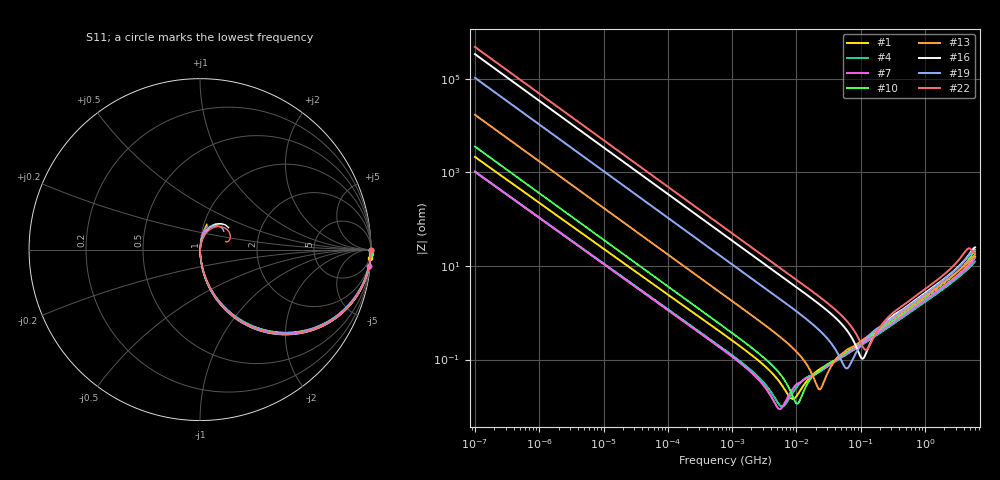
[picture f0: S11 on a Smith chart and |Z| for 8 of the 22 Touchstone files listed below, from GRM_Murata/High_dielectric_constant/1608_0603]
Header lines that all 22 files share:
!These Parameters are Measured in Series Mode Connection
!Data Generated on Mar 30, 2021
!  o--ll--o
!Port1  Port2
!  o------o
!Operation Temp=25[degC], DC Bias Voltage=0[V]
!Freq. Start=100[Hz] Stop=6[GHz] 401[Steps]
# Hz S RI R 50
!Freq.(Hz) S11(Real) S11(Imag) S21(Real) S21(Imag) S12(Real) S12(Imag) S22(Real) S22(Imag)
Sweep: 100 Hz to 6 GHz
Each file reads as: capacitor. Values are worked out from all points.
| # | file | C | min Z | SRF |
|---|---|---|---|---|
| 1 | GRM185B30J105KE25.s2p | 738 nF | 14.4 mohm | 8.977 MHz |
| 2 | GRM185C80J475ME11.s2p | 3.45 uF | 7.11 mohm | 3.655 MHz |
| 3 | GRM185R60G106ME15.s2p | 7.96 uF | 4.55 mohm | 2.344 MHz |
| 4 | GRM185R60J225KE26.s2p | 1.53 uF | 9.91 mohm | 6.13 MHz |
| 5 | GRM185R61E105MA12.s2p | 607 nF | 13.5 mohm | 9.98 MHz |
| 6 | GRM187R60J226ME15.s2p | 17 uF | 3.88 mohm | 1.417 MHz |
| 7 | GRM188B3YA225KA12.s2p | 1.53 uF | 8.74 mohm | 5.641 MHz |
| 8 | GRM188B10J105KA01.s2p | 928 nF | 8.66 mohm | 6.96 MHz |
| 9 | GRM188B11A334MA61.s2p | 306 nF | 13.5 mohm | 12.7 MHz |
| 10 | GRM188B11A474KA61.s2p | 445 nF | 11.4 mohm | 10.44 MHz |
| 11 | GRM188B11A684MA61.s2p | 621 nF | 9.84 mohm | 8.763 MHz |
| 12 | GRM188B11E103KA01.s2p | 9.69 nF | 65.7 mohm | 75.25 MHz |
| 13 | GRM188B11E104KA01.s2p | 93 nF | 23.1 mohm | 23.22 MHz |
| 14 | GRM188B11E152KA01.s2p | 1.5 nF | 228 mohm | 191 MHz |
| 15 | GRM188B11E153MA01.s2p | 14.6 nF | 55.4 mohm | 59.24 MHz |
| 16 | GRM188B11E472KA01.s2p | 4.71 nF | 104 mohm | 107.2 MHz |
| 17 | GRM188B11E682KA01.s2p | 6.79 nF | 106 mohm | 84.26 MHz |
| 18 | GRM188B11H102KA01.s2p | 994 pF | 294 mohm | 219.1 MHz |
| 19 | GRM188B11H153MA01.s2p | 15.1 nF | 64.8 mohm | 61.02 MHz |
| 20 | GRM188B11H221KA01.s2p | 220 pF | 613 mohm | 522.6 MHz |
| 21 | GRM188B11H331KA01.s2p | 349 pF | 537 mohm | 435.8 MHz |
| 22 | GRM188B11H332MA01.s2p | 3.3 nF | 161 mohm | 121 MHz |
